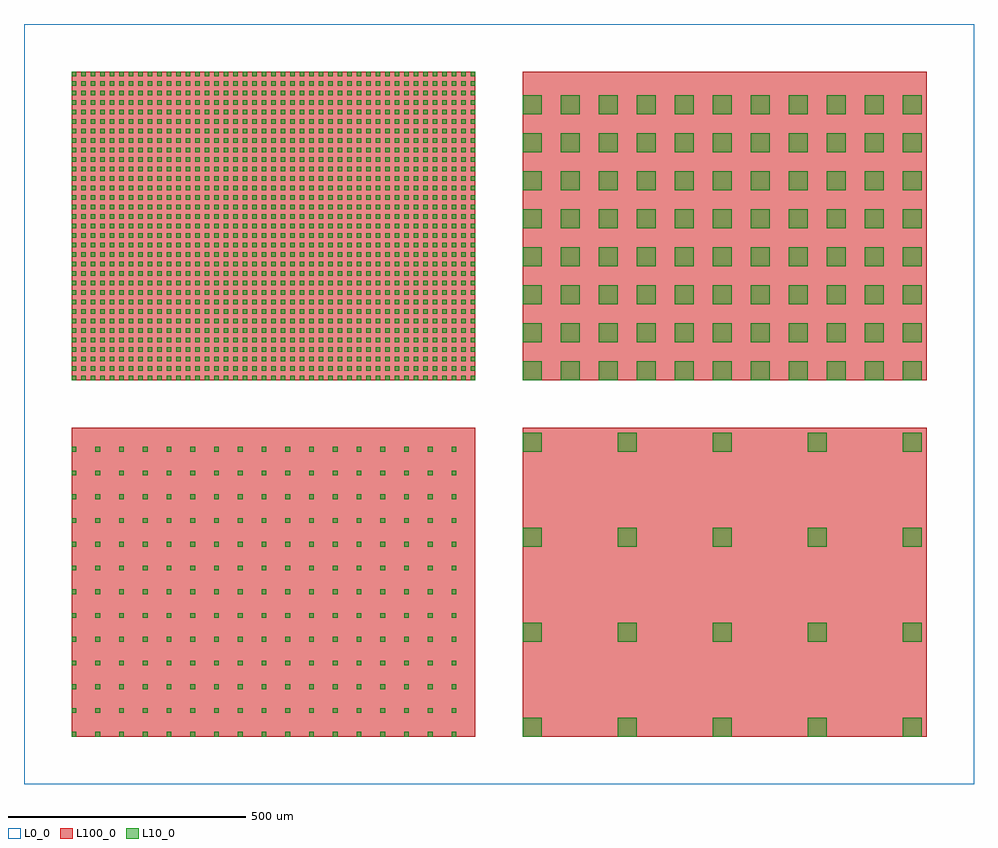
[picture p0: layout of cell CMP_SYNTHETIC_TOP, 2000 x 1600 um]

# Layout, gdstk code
import gdstk
lib = gdstk.Library(unit=1e-6, precision=1e-09)
def R(c, l, rs):  # rectangles x0, y0, x1, y1
    for r in rs: c.add(gdstk.rectangle(r[:2], r[2:], *l))
def A(c, l, x, y, w, h, nx, ny, dx, dy):  # array of equal rectangles
    R(c, l, [(x+i*dx, y+j*dy, x+i*dx+w, y+j*dy+h) for i in range(nx) for j in range(ny)])
L0_0 = (0, 0)
L10_0 = (10, 0)
L100_0 = (100, 0)

cmp_synthetic_top = lib.new_cell('CMP_SYNTHETIC_TOP')
R(cmp_synthetic_top, L0_0, [(0,0,2000,1600)])
A(cmp_synthetic_top, L10_0, 100, 100, 10, 10, 17, 13, 50, 50)
A(cmp_synthetic_top, L10_0, 1050, 100, 40, 40, 5, 4, 200, 200)
A(cmp_synthetic_top, L10_0, 100, 850, 10, 10, 43, 33, 20, 20)
A(cmp_synthetic_top, L10_0, 1050, 850, 40, 40, 11, 8, 80, 80)
R(cmp_synthetic_top, L100_0, [(100,100,950,750), (1050,100,1900,750), (100,850,950,1500), (1050,850,1900,1500)])

lib.write_gds('CMP_SYNTHETIC_TOP.gds')
